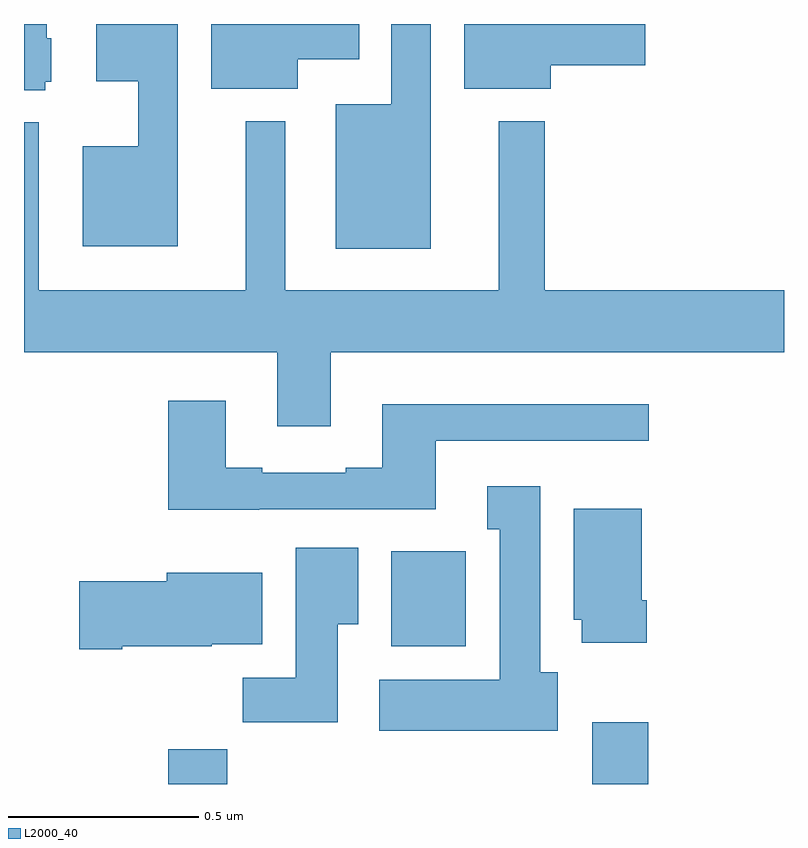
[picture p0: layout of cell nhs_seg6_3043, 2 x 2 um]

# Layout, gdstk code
import gdstk
lib = gdstk.Library(unit=1e-6, precision=1e-09)
def R(c, l, rs):  # rectangles x0, y0, x1, y1
    for r in rs: c.add(gdstk.rectangle(r[:2], r[2:], *l))
def P(c, l, *ps):  # polygons
    for p in ps: c.add(gdstk.Polygon(p, *l))
L2000_40 = (2000, 40)

nhs_seg6_3043 = lib.new_cell('nhs_seg6_3043')
R(nhs_seg6_3043, L2000_40, [(151.379,979.5,151.535,979.592), (152.495,979.5,152.643,979.663), (151.967,979.862,152.163,980.113)])
P(nhs_seg6_3043, L2000_40, [(152.071,981.5),(151.967,981.5),(151.967,981.289),(151.82,981.289),(151.82,980.909),(152.071,980.909)],
  [(152.386,981.392),(152.635,981.392),(152.635,981.5),(152.159,981.5),(152.159,981.329),(152.386,981.329)],
  [(151.72,981.407),(151.882,981.407),(151.882,981.5),(151.493,981.5),(151.493,981.329),(151.72,981.329)],
  [(151.405,981.5),(151.19,981.5),(151.19,981.35),(151.301,981.35),(151.301,981.178),(151.154,981.178),(151.154,980.915),(151.405,980.915)],
  [(151.056,981.348),(151.072,981.348),(151.072,981.462),(151.06,981.462),(151.06,981.5),(151,981.5),(151,981.326),(151.056,981.326)],
  [(151.807,980.636),(153,980.636),(153,980.8),(152.371,980.8),(152.371,981.244),(152.249,981.244),(152.249,980.8),(151.687,980.8),(151.687,981.244),(151.583,981.244),(151.583,980.8),(151.039,980.8),(151.039,981.241),(151,981.241),(151,980.636),(151.667,980.636),(151.667,980.442),(151.807,980.442)],
  [(151.619,980.223),(152.083,980.223),(152.083,980.403),(152.644,980.403),(152.644,980.5),(151.943,980.5),(151.943,980.332),(151.847,980.332),(151.847,980.319),(151.627,980.319),(151.627,980.332),(151.531,980.332),(151.531,980.509),(151.379,980.509),(151.379,980.222),(151.619,980.222)],
  [(152.404,979.794),(152.359,979.794),(152.359,980.284),(152.219,980.284),(152.219,980.171),(152.252,980.171),(152.252,979.774),(151.935,979.774),(151.935,979.64),(152.404,979.64)],
  [(152.639,979.984),(152.626,979.984),(152.626,980.224),(152.447,980.224),(152.447,979.932),(152.468,979.932),(152.468,979.872),(152.639,979.872)],
  [(151.825,979.921),(151.879,979.921),(151.879,980.122),(151.715,980.122),(151.715,979.78),(151.576,979.78),(151.576,979.662),(151.825,979.662)],
  [(151.258,979.862),(151.494,979.862),(151.494,979.868),(151.627,979.868),(151.627,980.056),(151.376,980.056),(151.376,980.033),(151.146,980.033),(151.146,979.855),(151.258,979.855)])

lib.write_gds('nhs_seg6_3043.gds')
